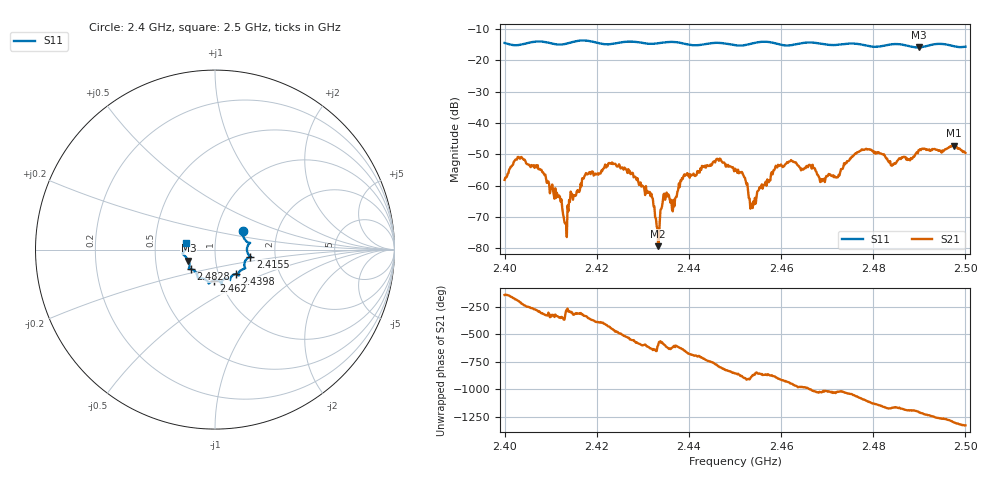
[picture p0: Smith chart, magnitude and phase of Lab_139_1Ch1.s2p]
# Hz S RI R 50
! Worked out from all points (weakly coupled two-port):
!   601 points, 2.4 GHz to 2.5 GHz, reference 50 ohm
!   highest |S21| = -47.21 dB at 2.4975 GHz (marker M1); lowest = -79.3 dB at 2.4333 GHz (marker M2)
!   lowest |S11| = -15.9 dB at 2.4898 GHz (marker M3), VSWR 1.38, Z = 36.9 - j4.67 ohm
!   |S11| at or under -10 dB: start of sweep to end of sweep
!   S12 and S22 are empty: the file has one direction only
!   S11 on the Smith chart (normalised r, x): 2.4 GHz: 1.33, +0.29; 2.4155 GHz: 1.49, -0.12; 2.4398 GHz: 1.21, -0.34; 2.462 GHz: 0.93, -0.33; 2.4828 GHz: 0.74, -0.17; 2.5 GHz: 0.72, +0.06
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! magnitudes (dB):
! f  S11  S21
! 2.4 GHz  -14.5  -58.2
! 2.4032 GHz  -15.1  -51.1
! 2.4072 GHz  -14.0  -53.5
! 2.413 GHz  -14.8  -71.7
! 2.4155 GHz  -13.9  -63.1
! 2.4167 GHz  -13.7  -60.2
! 2.426 GHz  -14.2  -54.3
! 2.4317 GHz  -14.8  -63.3
! 2.4333 GHz  -14.6  -79.3
! 2.4348 GHz  -14.3  -64.5
! 2.4368 GHz  -14.2  -66.6
! 2.4398 GHz  -15.0  -56.9
! 2.45 GHz  -15.2  -54.6
! 2.4538 GHz  -14.6  -67.2
! 2.462 GHz  -15.2  -52.2
! 2.4667 GHz  -14.3  -54.6
! 2.469 GHz  -14.8  -58.0
! 2.4828 GHz  -15.2  -51.4
! 2.4833 GHz  -15.0  -52.4
! 2.4898 GHz  -15.9  -48.7
! 2.4975 GHz  -15.5  -47.2
! 2.5 GHz  -15.7  -49.5
